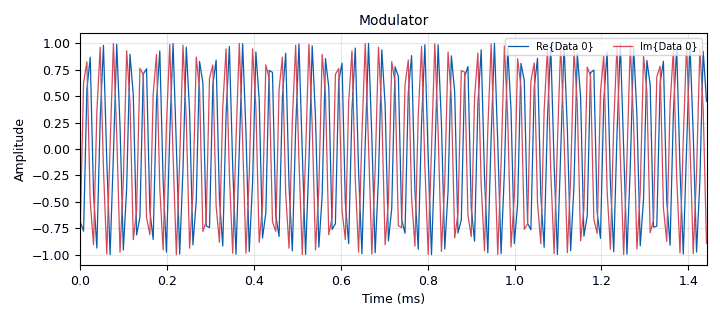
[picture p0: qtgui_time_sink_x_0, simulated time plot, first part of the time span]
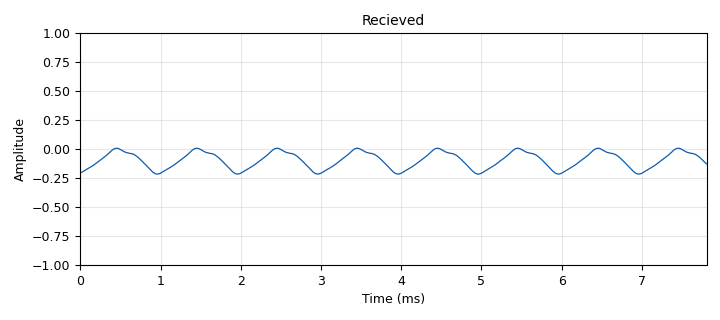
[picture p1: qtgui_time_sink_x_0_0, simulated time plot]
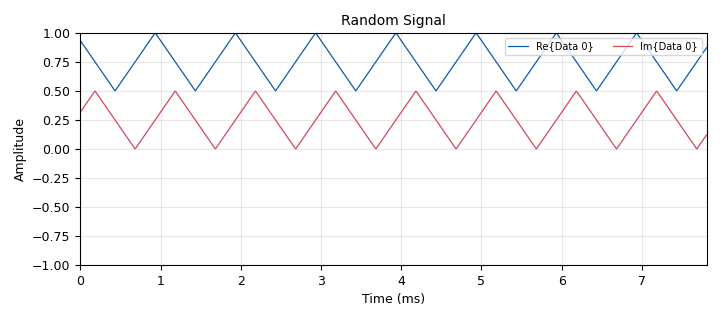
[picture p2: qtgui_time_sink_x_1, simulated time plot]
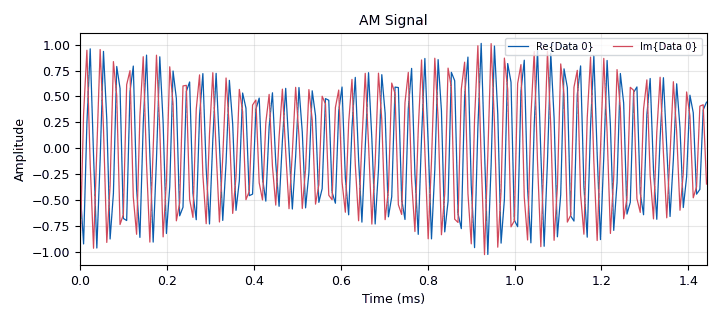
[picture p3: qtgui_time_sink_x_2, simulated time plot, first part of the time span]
options:
  parameters:
    author: CCI
    generate_options: qt_gui
    id: AM_Mod_Demod
    output_language: python
    title: AM MOD DEMOD
  states: {}

blocks:
- name: const1
  id: variable_qtgui_range
  parameters:
    label: Signal Amplitude
    start: '0'
    step: '1'
    stop: '1000'
    value: '500'
  states: {}
- name: const2
  id: variable_qtgui_range
  parameters:
    label: Signal Shift
    start: '0'
    step: '1'
    stop: '1000'
    value: '500'
  states: {}
- name: const3
  id: variable_qtgui_range
  parameters:
    label: Gain
    start: '0'
    step: '0.1'
    stop: '20'
    value: '1'
  states: {}
- name: point_num
  id: variable
  parameters:
    value: 2**10
  states: {}
- name: samp_rate
  id: variable
  parameters:
    value: 2**17
  states: {}
- name: analog_am_demod_cf_0
  id: analog_am_demod_cf
  parameters:
    audio_decim: '1'
    audio_pass: '5000'
    audio_stop: '5500'
    chan_rate: samp_rate
  states: {}
- name: analog_const_source_x_0
  id: analog_const_source_x
  parameters:
    const: const1*10**-3
    type: complex
  states: {}
- name: analog_const_source_x_0_0
  id: analog_const_source_x
  parameters:
    const: const2*10**-3
    type: complex
  states: {}
- name: analog_sig_source_x_0
  id: analog_sig_source_x
  parameters:
    amp: '1'
    freq: '100000'
    offset: '0'
    phase: '0'
    samp_rate: int(samp_rate)
    type: complex
    waveform: analog.GR_COS_WAVE
  states: {}
- name: analog_sig_source_x_0_0
  id: analog_sig_source_x
  parameters:
    amp: '1'
    freq: '1000'
    offset: '0'
    phase: '0'
    samp_rate: int(samp_rate)
    type: complex
    waveform: analog.GR_TRI_WAVE
  states: {}
- name: blocks_add_xx_0
  id: blocks_add_xx
  parameters:
    type: complex
  states: {}
- name: blocks_multiply_const_vxx_0
  id: blocks_multiply_const_vxx
  parameters:
    const: const3
    type: float
  states: {}
- name: blocks_multiply_xx_0
  id: blocks_multiply_xx
  parameters:
    type: complex
  states: {}
- name: blocks_multiply_xx_0_0
  id: blocks_multiply_xx
  parameters:
    type: complex
  states: {}
- name: blocks_throttle2_0
  id: blocks_throttle2
  parameters:
    samples_per_second: samp_rate
    type: complex
  states: {}
- name: blocks_throttle2_1
  id: blocks_throttle2
  parameters:
    samples_per_second: samp_rate
    type: complex
  states: {}
- name: qtgui_time_sink_x_0
  id: qtgui_time_sink_x
  parameters:
    autoscale: 'True'
    name: '"Modulator"'
    size: point_num
    srate: samp_rate
    type: complex
  states: {}
- name: qtgui_time_sink_x_0_0
  id: qtgui_time_sink_x
  parameters:
    name: '"Recieved"'
    size: point_num
    srate: samp_rate
    type: float
  states: {}
- name: qtgui_time_sink_x_1
  id: qtgui_time_sink_x
  parameters:
    name: '"Random Signal"'
    size: point_num
    srate: samp_rate
    type: complex
  states: {}
- name: qtgui_time_sink_x_2
  id: qtgui_time_sink_x
  parameters:
    autoscale: 'True'
    name: '"AM Signal"'
    size: point_num
    srate: samp_rate
    type: complex
  states: {}

connections:
- [analog_am_demod_cf_0, '0', blocks_multiply_const_vxx_0, '0']
- [analog_const_source_x_0, '0', blocks_multiply_xx_0_0, '1']
- [analog_const_source_x_0_0, '0', blocks_add_xx_0, '1']
- [analog_sig_source_x_0, '0', blocks_throttle2_1, '0']
- [analog_sig_source_x_0_0, '0', blocks_throttle2_0, '0']
- [blocks_add_xx_0, '0', blocks_multiply_xx_0, '0']
- [blocks_add_xx_0, '0', qtgui_time_sink_x_1, '0']
- [blocks_multiply_const_vxx_0, '0', qtgui_time_sink_x_0_0, '0']
- [blocks_multiply_xx_0, '0', analog_am_demod_cf_0, '0']
- [blocks_multiply_xx_0, '0', qtgui_time_sink_x_2, '0']
- [blocks_multiply_xx_0_0, '0', blocks_add_xx_0, '0']
- [blocks_throttle2_0, '0', blocks_multiply_xx_0_0, '0']
- [blocks_throttle2_1, '0', blocks_multiply_xx_0, '1']
- [blocks_throttle2_1, '0', qtgui_time_sink_x_0, '0']

metadata:
  file_format: 1
  grc_version: 3.10.9.2
